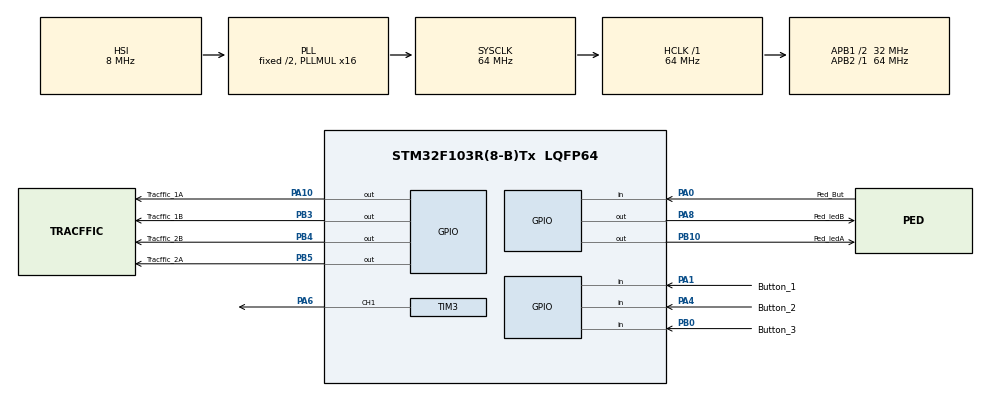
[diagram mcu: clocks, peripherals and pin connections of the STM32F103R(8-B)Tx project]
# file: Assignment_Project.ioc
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Mcu.Family=STM32F1
Mcu.Name=STM32F103R(8-B)Tx
Mcu.Package=LQFP64
NVIC.PriorityGroup=NVIC_PRIORITYGROUP_4
NVIC.TIM2_IRQn=true\:0\:0\:false\:false\:true\:true\:true
PA0-WKUP.GPIO_Label=Ped_But
PA0-WKUP.GPIO_PuPd=GPIO_PULLUP
PA0-WKUP.Signal=GPIO_Input
PA1.GPIO_Label=Button_1
PA1.GPIO_PuPd=GPIO_PULLUP
PA1.Signal=GPIO_Input
PA10.GPIO_Label=Tracffic_1A
PA10.Signal=GPIO_Output
PA4.GPIO_Label=Button_2
PA4.GPIO_PuPd=GPIO_PULLUP
PA4.Signal=GPIO_Input
PA6.Signal=S_TIM3_CH1
PA8.GPIO_Label=Ped_ledB
PA8.Signal=GPIO_Output
PB0.GPIO_Label=Button_3
PB0.GPIO_PuPd=GPIO_PULLUP
PB0.Signal=GPIO_Input
PB10.GPIO_Label=Ped_ledA
PB10.Signal=GPIO_Output
PB3.GPIO_Label=Tracffic_1B
PB3.Signal=GPIO_Output
PB4.GPIO_Label=Tracffic_2B
PB4.Signal=GPIO_Output
PB5.GPIO_Label=Tracffic_2A
PB5.Signal=GPIO_Output
ProjectManager.HeapSize=0x200
ProjectManager.StackSize=0x400
ProjectManager.TargetToolchain=STM32CubeIDE
RCC.AHBFreq_Value=64000000
RCC.APB1CLKDivider=RCC_HCLK_DIV2
RCC.APB1Freq_Value=32000000
RCC.APB1TimFreq_Value=64000000
RCC.APB2Freq_Value=64000000
RCC.APB2TimFreq_Value=64000000
RCC.HCLKFreq_Value=64000000
RCC.PLLMUL=RCC_PLL_MUL16
RCC.SYSCLKFreq_VALUE=64000000
RCC.SYSCLKSource=RCC_SYSCLKSOURCE_PLLCLK
RCC.USBFreq_Value=64000000
SH.S_TIM3_CH1.0=TIM3_CH1,PWM Generation1 CH1
TIM2.Period=9
TIM2.Prescaler=63999
TIM3.Channel-PWM\ Generation1\ CH1=TIM_CHANNEL_1
TIM3.Period=999
TIM3.Prescaler=63
VP_SYS_VS_ND.Mode=No_Debug
VP_TIM2_VS_ClockSourceINT.Mode=Internal
VP_TIM3_VS_ClockSourceINT.Mode=Internal
board=custom

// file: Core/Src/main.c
/* USER CODE BEGIN Header */
/**
  ******************************************************************************
  * @file           : main.c
  * @brief          : Main program body
  ******************************************************************************
  * @attention
  *
  * <h2><center>&copy; Copyright (c) 2022 STMicroelectronics.
  * All rights reserved.</center></h2>
  *
  * This software component is licensed by ST under BSD 3-Clause license,
  * the "License"; You may not use this file except in compliance with the
  * License. You may obtain a copy of the License at:
  *                        opensource.org/licenses/BSD-3-Clause
  *
  ******************************************************************************
  */
/* USER CODE END Header */
#include "main.h"

/* USER CODE BEGIN Includes */
#include "global.h"
#include "automatic.h"
#include "manual.h"
#include "tunning_mode.h"
#include "button.h"
#include "timer.h"
#include "pedestrian.h"
/* USER CODE END Includes */

TIM_HandleTypeDef htim2;
TIM_HandleTypeDef htim3;

void SystemClock_Config(void);
static void MX_TIM2_Init(void);
static void MX_GPIO_Init(void);
static void MX_TIM3_Init(void);

int main(void)
{

  /* MCU Configuration--------------------------------------------------------*/

  /* Reset of all peripherals, Initializes the Flash interface and the Systick. */
  HAL_Init();

  /* Configure the system clock */
  SystemClock_Config();

  /* Initialize all configured peripherals */
  MX_TIM2_Init();
  MX_GPIO_Init();
  MX_TIM3_Init();
  /* USER CODE BEGIN 2 */
  HAL_TIM_Base_Start_IT(&htim2);
  HAL_TIM_PWM_Start(&htim3, TIM_CHANNEL_1);
  /* USER CODE END 2 */

  /* Infinite loop */
  /* USER CODE BEGIN WHILE */
  status = INIT ;
  setTimer1(100);
  while (1)
  {
	  automatic_run();
	  manual_run();
	  tunning_mode();
	  pedestrian_run();
    /* USER CODE END WHILE */

  }
}

void SystemClock_Config(void)
{
  RCC_OscInitTypeDef RCC_OscInitStruct = {0};
  RCC_ClkInitTypeDef RCC_ClkInitStruct = {0};

  /** Initializes the RCC Oscillators according to the specified parameters
  * in the RCC_OscInitTypeDef structure.
  */
  RCC_OscInitStruct.OscillatorType = RCC_OSCILLATORTYPE_HSI;
  RCC_OscInitStruct.HSIState = RCC_HSI_ON;
  RCC_OscInitStruct.HSICalibrationValue = RCC_HSICALIBRATION_DEFAULT;
  RCC_OscInitStruct.PLL.PLLState = RCC_PLL_ON;
  RCC_OscInitStruct.PLL.PLLSource = RCC_PLLSOURCE_HSI_DIV2;
  RCC_OscInitStruct.PLL.PLLMUL = RCC_PLL_MUL16;
  if (HAL_RCC_OscConfig(&RCC_OscInitStruct) != HAL_OK)
  {
    Error_Handler();
  }
  /** Initializes the CPU, AHB and APB buses clocks
  */
  RCC_ClkInitStruct.ClockType = RCC_CLOCKTYPE_HCLK|RCC_CLOCKTYPE_SYSCLK
                              |RCC_CLOCKTYPE_PCLK1|RCC_CLOCKTYPE_PCLK2;
  RCC_ClkInitStruct.SYSCLKSource = RCC_SYSCLKSOURCE_PLLCLK;
  RCC_ClkInitStruct.AHBCLKDivider = RCC_SYSCLK_DIV1;
  RCC_ClkInitStruct.APB1CLKDivider = RCC_HCLK_DIV2;
  RCC_ClkInitStruct.APB2CLKDivider = RCC_HCLK_DIV1;

  if (HAL_RCC_ClockConfig(&RCC_ClkInitStruct, FLASH_LATENCY_2) != HAL_OK)
  {
    Error_Handler();
  }
}

static void MX_TIM2_Init(void)
{

  TIM_ClockConfigTypeDef sClockSourceConfig = {0};
  TIM_MasterConfigTypeDef sMasterConfig = {0};

  htim2.Instance = TIM2;
  htim2.Init.Prescaler = 63999;
  htim2.Init.CounterMode = TIM_COUNTERMODE_UP;
  htim2.Init.Period = 9;
  htim2.Init.ClockDivision = TIM_CLOCKDIVISION_DIV1;
  htim2.Init.AutoReloadPreload = TIM_AUTORELOAD_PRELOAD_DISABLE;
  if (HAL_TIM_Base_Init(&htim2) != HAL_OK)
  {
    Error_Handler();
  }
  sClockSourceConfig.ClockSource = TIM_CLOCKSOURCE_INTERNAL;
  if (HAL_TIM_ConfigClockSource(&htim2, &sClockSourceConfig) != HAL_OK)
  {
    Error_Handler();
  }
  sMasterConfig.MasterOutputTrigger = TIM_TRGO_RESET;
  sMasterConfig.MasterSlaveMode = TIM_MASTERSLAVEMODE_DISABLE;
  if (HAL_TIMEx_MasterConfigSynchronization(&htim2, &sMasterConfig) != HAL_OK)
  {
    Error_Handler();
  }

}

static void MX_TIM3_Init(void)
{

  TIM_ClockConfigTypeDef sClockSourceConfig = {0};
  TIM_MasterConfigTypeDef sMasterConfig = {0};
  TIM_OC_InitTypeDef sConfigOC = {0};

  htim3.Instance = TIM3;
  htim3.Init.Prescaler = 63;
  htim3.Init.CounterMode = TIM_COUNTERMODE_UP;
  htim3.Init.Period = 999;
  htim3.Init.ClockDivision = TIM_CLOCKDIVISION_DIV1;
  htim3.Init.AutoReloadPreload = TIM_AUTORELOAD_PRELOAD_DISABLE;
  if (HAL_TIM_Base_Init(&htim3) != HAL_OK)
  {
    Error_Handler();
  }
  sClockSourceConfig.ClockSource = TIM_CLOCKSOURCE_INTERNAL;
  if (HAL_TIM_ConfigClockSource(&htim3, &sClockSourceConfig) != HAL_OK)
  {
    Error_Handler();
  }
  if (HAL_TIM_PWM_Init(&htim3) != HAL_OK)
  {
    Error_Handler();
  }
  sMasterConfig.MasterOutputTrigger = TIM_TRGO_RESET;
  sMasterConfig.MasterSlaveMode = TIM_MASTERSLAVEMODE_DISABLE;
  if (HAL_TIMEx_MasterConfigSynchronization(&htim3, &sMasterConfig) != HAL_OK)
  {
    Error_Handler();
  }
  sConfigOC.OCMode = TIM_OCMODE_PWM1;
  sConfigOC.Pulse = 0;
  sConfigOC.OCPolarity = TIM_OCPOLARITY_HIGH;
  sConfigOC.OCFastMode = TIM_OCFAST_DISABLE;
  if (HAL_TIM_PWM_ConfigChannel(&htim3, &sConfigOC, TIM_CHANNEL_1) != HAL_OK)
  {
    Error_Handler();
  }
  HAL_TIM_MspPostInit(&htim3);

}

static void MX_GPIO_Init(void)
{
  GPIO_InitTypeDef GPIO_InitStruct = {0};

  /* GPIO Ports Clock Enable */
  __HAL_RCC_GPIOA_CLK_ENABLE();
  __HAL_RCC_GPIOB_CLK_ENABLE();

  /*Configure GPIO pin Output Level */
  HAL_GPIO_WritePin(GPIOB, Ped_ledA_Pin|Tracffic_1B_Pin|Tracffic_2B_Pin|Tracffic_2A_Pin, GPIO_PIN_RESET);

  /*Configure GPIO pin Output Level */
  HAL_GPIO_WritePin(GPIOA, Ped_ledB_Pin|Tracffic_1A_Pin, GPIO_PIN_RESET);

  /*Configure GPIO pins : Ped_But_Pin Button_1_Pin Button_2_Pin */
  GPIO_InitStruct.Pin = Ped_But_Pin|Button_1_Pin|Button_2_Pin;
  GPIO_InitStruct.Mode = GPIO_MODE_INPUT;
  GPIO_InitStruct.Pull = GPIO_PULLUP;
  HAL_GPIO_Init(GPIOA, &GPIO_InitStruct);

  /*Configure GPIO pin : Button_3_Pin */
  GPIO_InitStruct.Pin = Button_3_Pin;
  GPIO_InitStruct.Mode = GPIO_MODE_INPUT;
  GPIO_InitStruct.Pull = GPIO_PULLUP;
  HAL_GPIO_Init(Button_3_GPIO_Port, &GPIO_InitStruct);

  /*Configure GPIO pins : Ped_ledA_Pin Tracffic_1B_Pin Tracffic_2B_Pin Tracffic_2A_Pin */
  GPIO_InitStruct.Pin = Ped_ledA_Pin|Tracffic_1B_Pin|Tracffic_2B_Pin|Tracffic_2A_Pin;
  GPIO_InitStruct.Mode = GPIO_MODE_OUTPUT_PP;
  GPIO_InitStruct.Pull = GPIO_NOPULL;
  GPIO_InitStruct.Speed = GPIO_SPEED_FREQ_LOW;
  HAL_GPIO_Init(GPIOB, &GPIO_InitStruct);

  /*Configure GPIO pins : Ped_ledB_Pin Tracffic_1A_Pin */
  GPIO_InitStruct.Pin = Ped_ledB_Pin|Tracffic_1A_Pin;
  GPIO_InitStruct.Mode = GPIO_MODE_OUTPUT_PP;
  GPIO_InitStruct.Pull = GPIO_NOPULL;
  GPIO_InitStruct.Speed = GPIO_SPEED_FREQ_LOW;
  HAL_GPIO_Init(GPIOA, &GPIO_InitStruct);

}

/* USER CODE BEGIN 4 */
void HAL_TIM_PeriodElapsedCallback ( TIM_HandleTypeDef* htim ) {
		timerRun();
		getKeyInput();
}
/* USER CODE END 4 */

void Error_Handler(void)
{
  __disable_irq();
  while (1)
  {
  }
}

/************************ (C) COPYRIGHT STMicroelectronics *****END OF FILE****/
